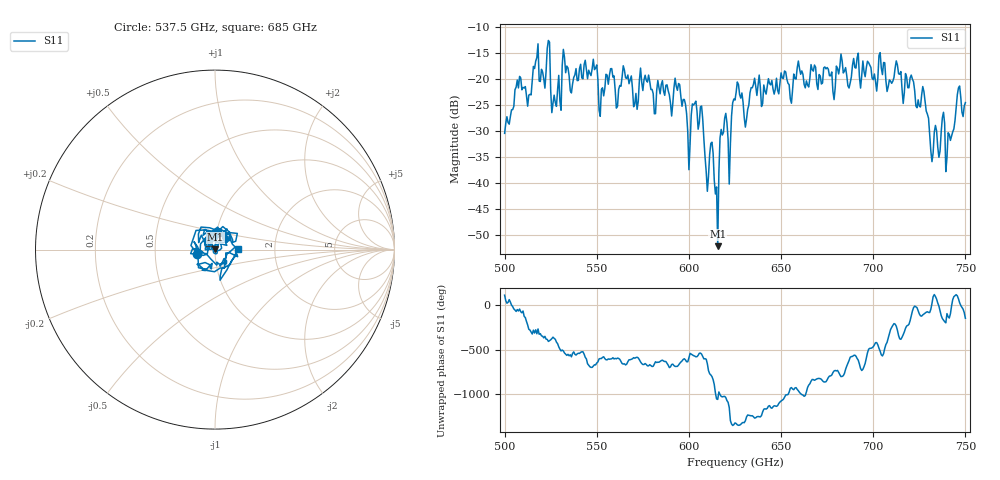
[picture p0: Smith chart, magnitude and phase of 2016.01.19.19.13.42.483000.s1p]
!Created with skrf (http://scikit-rf.org).
# GHz S RI R 50.0
!freq ReS11 ImS11
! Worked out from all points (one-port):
!   401 points, 500 GHz to 750 GHz, reference 50 ohm
!   lowest |S11| = -52.2 dB at 615.6 GHz (marker M1), VSWR 1.00, Z = 50.2 + j0.104 ohm
!   |S11| at or under -10 dB: start of sweep to end of sweep
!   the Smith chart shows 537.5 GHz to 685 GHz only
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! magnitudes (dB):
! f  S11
! 500 GHz  -30.5
! 507.5 GHz  -21.8
! 513.1 GHz  -23.2
! 516.9 GHz  -16.6
! 523.8 GHz  -12.7
! 526.9 GHz  -23.2
! 531.2 GHz  -17.5
! 562.5 GHz  -21.3
! 593.8 GHz  -22.2
! 600 GHz  -37.5
! 602.5 GHz  -25.1
! 606.9 GHz  -25.3
! 609.4 GHz  -37.9
! 612.5 GHz  -32.2
! 615.6 GHz  -52.2
! 618.1 GHz  -30.8
! 621.9 GHz  -40.3
! 625 GHz  -24.1
! 631.2 GHz  -27.8
! 635 GHz  -21.1
! 656.2 GHz  -22.1
! 687.5 GHz  -20.8
! 718.8 GHz  -21.7
! 727.5 GHz  -22.5
! 731.9 GHz  -36.0
! 740.6 GHz  -30.4
! 746.2 GHz  -21.8
! 750 GHz  -24.6
